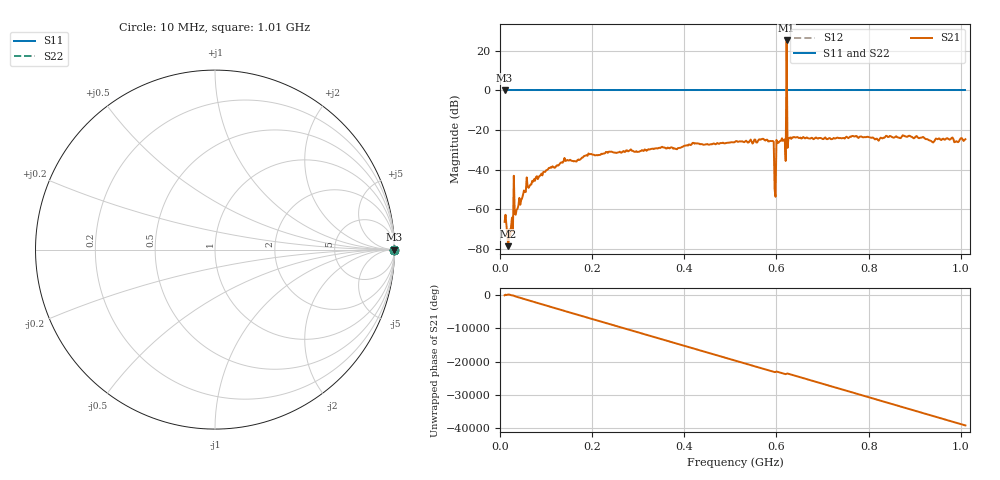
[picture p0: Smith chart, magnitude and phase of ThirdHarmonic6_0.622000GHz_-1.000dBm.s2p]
! 8/15/2025 8:28:20 PM
! C:\ANRITSUVNA\TEMP\TEMP.S2P
! CHANNEL.1
! TR.MEASUREMENT
! RAW.DATA
! RF.CORRECTION.OFF
! AVERAGING.OFF
! IF.BANDWIDTH: 5KHZ
! SWEEPTYPE:  FREQ.SWEEP(Linear)
! Reference Plane Port Info
! PORT:  PORT1  PORT2
! DISTANCE:  0  m  0  m
! TIME:  0  s  0  s
! PHASE.OFFSET:  0  deg.  0  deg.
! LOSS:  0  dB  0  dB
! REF.LOSS:  0  dB  0  dB
! REF.FREQ:  0  Hz  0  Hz
! Power Info
! POWER:  -20  dBm  -20  dBm
! EFF.POWER:  -20  dBm  -20  dBm
! SOURCE.ATTEN:  0  dB  0  dB
! TEST.ATTEN:  0  dB  0  dB
# GHZ S RI R 50.0
! FREQ.GHZ  S11RE  S11IM  S21RE  S21IM  S12RE  S12IM  S22RE  S22IM
!; PortSelection: Port_12
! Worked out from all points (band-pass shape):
!   501 points, 10 MHz to 1.01 GHz, reference 50 ohm
!   highest |S21| = 25.21 dB at 622 MHz (marker M1); lowest = -78.5 dB at 18 MHz (marker M2)
!   |S21| within 3 dB of the highest: 621.9012 MHz to 622.1108 MHz (209.6 kHz wide, 0.0337 % of centre)
!   lowest |S11| = 0.0 dB at 10 MHz (marker M3)
!   |S11| at or under -10 dB: nowhere
!   |S22| runs from 0.0 to 0.0 dB; largest |S21 - S12| = 19
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0.01  1 0  0.000163 -0.000458  1 0  1 0
0.018  1 0  -8.06e-05 8.71e-05  1 0  1 0
0.024  1 0  0.000263 -0.000246  1 0  1 0
0.034  1 0  3.08e-05 -0.000734  1 0  1 0
0.036  1 0  -0.000969 -0.000146  1 0  1 0
0.062  1 0  -0.00301 -0.00178  1 0  1 0
0.136  1 0  0.00233 0.0149  1 0  1 0
0.178  1 0  -0.0202 -0.00124  1 0  1 0
0.344  1 0  0.0287 -0.0208  1 0  1 0
0.51  1 0  -0.0257 0.0435  1 0  1 0
0.59  1 0  -0.0351 0.0397  1 0  1 0
0.594  1 0  0.0443 -0.0252  1 0  1 0
0.6  1 0  -0.000774 0.0565  1 0  1 0
0.604  1 0  0.0183 -0.0439  1 0  1 0
0.616  1 0  -0.0562 0.00699  1 0  1 0
0.618  1 0  -0.00249 0.0582  1 0  1 0
0.622  1 0  -12.26 13.48  1 0  1 0
0.626  1 0  -0.0361 0.0521  1 0  1 0
0.628  1 0  0.0435 0.0454  1 0  1 0
0.678  1 0  -0.0632 0.00295  1 0  1 0
0.844  1 0  0.0531 -0.0421  1 0  1 0
1.01  1 0  -0.00438 0.0588  1 0  1 0
